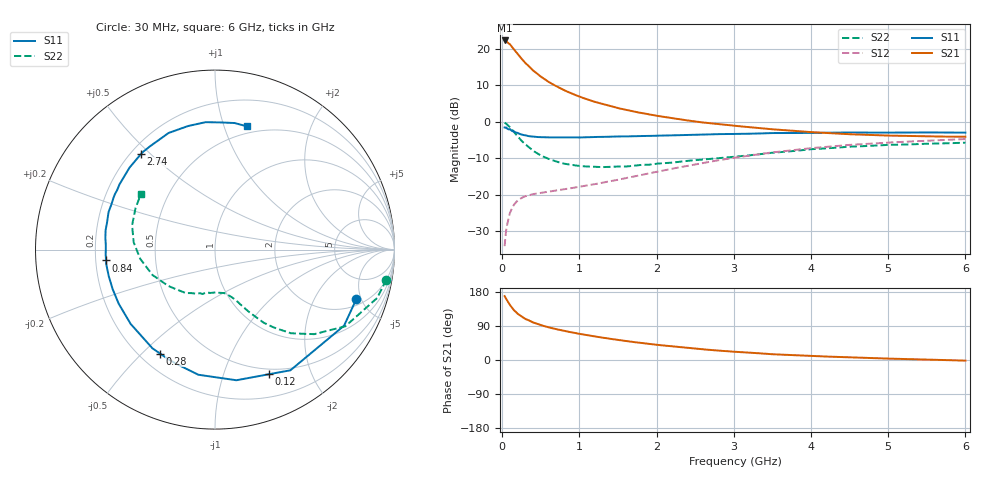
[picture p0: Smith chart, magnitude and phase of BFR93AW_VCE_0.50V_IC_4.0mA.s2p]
! Infineon Technologies  Discrete & RF Semiconductors
! BFR93AW
! VCE = 0.50 V,  IC =  4.0 mA
! Common Emitter S-Parameters:  Nov 2015
# GHz  S  MA  R  50
!  f  S11  S21  S12  S22
! GHz  MAG  ANG  MAG  ANG  MAG  ANG  MAG  ANG
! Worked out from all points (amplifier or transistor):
!   206 points, 30 MHz to 6 GHz, reference 50 ohm
!   highest |S21| = 22.3 dB at 30 MHz (marker M1)
!   |S21| within 3 dB of that: start of sweep to 172.5 MHz
!   unconditionally stable (mu >= 1): 938.6 MHz to 2.995 GHz; 5.118 GHz to end of sweep
!   at 200 MHz: K = 0.27, MSG = 20.1 dB, |S12| = -21.6 dB
!   at 1.56 GHz: K = 1.16, MAG = 7.1 dB, |S12| = -15.7 dB
!   at 6 GHz: K = 1.02, MAG = -0.5 dB, |S12| = -4.8 dB
!   S11 on the Smith chart (normalised r, x): 30 MHz: 2.49, -4.54; 120 MHz: 0.44, -1.43; 280 MHz: 0.28, -0.57; 840 MHz: 0.24, -0.05; 2.74 GHz: 0.24, +0.47; 6 GHz: 0.43, +1.19
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0.03  0.8343 -19.4  13.05 168.7  0.0196 78.6  0.9694 -10.0
0.05  0.8347 -30.5  12.83 160.9  0.0323 74.0  0.9431 -16.6
0.1  0.7929 -58.0  11.54 144.5  0.0565 62.0  0.8421 -30.5
0.12  0.7565 -66.7  10.82 139.8  0.0627 57.1  0.7927 -34.1
0.15  0.7376 -80.7  9.898 131.5  0.0726 51.3  0.7256 -40.5
0.2  0.7034 -97.6  8.509 121.8  0.0832 45.3  0.6291 -47.8
0.24  0.6723 -108.5  7.541 115.9  0.0887 41.8  0.5626 -51.7
0.28  0.6551 -117.9  6.754 110.8  0.093 39.4  0.5111 -54.9
0.3  0.651 -122.4  6.396 108.2  0.095 38.4  0.4879 -56.4
0.4  0.6263 -138.6  5.041 98.9  0.1016 35.6  0.3992 -61.2
0.5  0.6155 -150.6  4.156 91.8  0.1057 34.7  0.343 -64.7
0.6  0.6113 -158.8  3.519 86.2  0.1098 35.5  0.3083 -67.2
0.7  0.6102 -166.1  3.071 81.3  0.1143 36.5  0.2843 -70.1
0.84  0.6101 -174.3  2.598 75.3  0.1202 38.5  0.2616 -74.2
1.04  0.6104 176.4  2.135 67.6  0.1302 41.9  0.2453 -80.1
1.5  0.6289 160.4  1.538 53.0  0.16 48.5  0.2433 -95.6
2.02  0.6446 145.3  1.199 39.7  0.2073 52.3  0.2669 -113.1
2.74  0.673 127.9  0.941 25.9  0.2888 51.3  0.312 -135.6
3.1  0.682 120.0  0.862 20.7  0.3311 48.6  0.3376 -145.9
4.1  0.705 100.7  0.711 9.8  0.4429 37.7  0.4251 -175.5
5.1  0.7094 86.2  0.643 3.2  0.5244 25.3  0.4836 161.4
6  0.7094 75.6  0.623 -1.7  0.5786 15.3  0.5161 143.1
